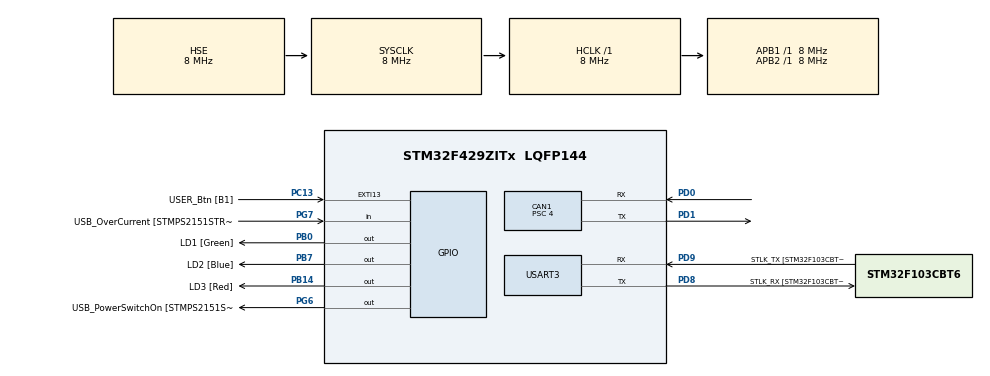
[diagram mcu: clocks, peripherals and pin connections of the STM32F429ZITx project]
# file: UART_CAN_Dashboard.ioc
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CAN1.BS1=CAN_BS1_6TQ
CAN1.CalculateBaudRate=250000
CAN1.CalculateTimeBit=4000
CAN1.CalculateTimeQuantum=500.0
CAN1.Mode=CAN_MODE_NORMAL
CAN1.NART=ENABLE
CAN1.Prescaler=4
Mcu.Family=STM32F4
Mcu.Name=STM32F429ZITx
Mcu.Package=LQFP144
NVIC.CAN1_RX0_IRQn=true\:0\:0\:false\:false\:true\:true\:true\:true
NVIC.CAN1_RX1_IRQn=true\:0\:0\:false\:false\:true\:true\:true\:true
NVIC.CAN1_SCE_IRQn=true\:0\:0\:false\:false\:true\:true\:true\:true
NVIC.CAN1_TX_IRQn=true\:0\:0\:false\:false\:true\:true\:true\:true
NVIC.PriorityGroup=NVIC_PRIORITYGROUP_4
NVIC.USART3_IRQn=true\:0\:0\:false\:false\:true\:true\:true\:true
PA1.GPIO_Label=RMII_REF_CLK [LAN8742A-CZ-TR_REFCLK0]
PA1.Signal=ETH_REF_CLK
PA10.GPIO_Label=USB_ID
PA10.Signal=USB_OTG_FS_ID
PA11.GPIO_Label=USB_DM
PA11.Signal=USB_OTG_FS_DM
PA12.GPIO_Label=USB_DP
PA12.Signal=USB_OTG_FS_DP
PA13.GPIO_Label=TMS
PA13.Signal=SYS_JTMS-SWDIO
PA14.GPIO_Label=TCK
PA14.Signal=SYS_JTCK-SWCLK
PA2.GPIO_Label=RMII_MDIO [LAN8742A-CZ-TR_MDIO]
PA2.Signal=ETH_MDIO
PA7.GPIO_Label=RMII_CRS_DV [LAN8742A-CZ-TR_CRS_DV]
PA7.Signal=ETH_CRS_DV
PA8.GPIO_Label=USB_SOF [TP1]
PA8.Signal=USB_OTG_FS_SOF
PA9.GPIO_Label=USB_VBUS
PA9.Signal=USB_OTG_FS_VBUS
PB0.GPIO_Label=LD1 [Green]
PB0.Signal=GPIO_Output
PB13.GPIO_Label=RMII_TXD1 [LAN8742A-CZ-TR_TXD1]
PB13.Signal=ETH_TXD1
PB14.GPIO_Label=LD3 [Red]
PB14.Signal=GPIO_Output
PB7.GPIO_Label=LD2 [Blue]
PB7.Signal=GPIO_Output
PC1.GPIO_Label=RMII_MDC [LAN8742A-CZ-TR_MDC]
PC1.Signal=ETH_MDC
PC13.GPIO_Label=USER_Btn [B1]
PC13.Signal=GPXTI13
PC14/OSC32_IN.Signal=RCC_OSC32_IN
PC15/OSC32_OUT.Signal=RCC_OSC32_OUT
PC4.GPIO_Label=RMII_RXD0 [LAN8742A-CZ-TR_RXD0]
PC4.Signal=ETH_RXD0
PC5.GPIO_Label=RMII_RXD1 [LAN8742A-CZ-TR_RXD1]
PC5.Signal=ETH_RXD1
PD0.Mode=CAN_Activate
PD0.Signal=CAN1_RX
PD1.Mode=CAN_Activate
PD1.Signal=CAN1_TX
PD8.GPIO_Label=STLK_RX [STM32F103CBT6_PA3]
PD8.Mode=Asynchronous
PD8.Signal=USART3_TX
PD9.GPIO_Label=STLK_TX [STM32F103CBT6_PA2]
PD9.Mode=Asynchronous
PD9.Signal=USART3_RX
PG11.GPIO_Label=RMII_TX_EN [LAN8742A-CZ-TR_TXEN]
PG11.Signal=ETH_TX_EN
PG13.GPIO_Label=RMII_TXD0 [LAN8742A-CZ-TR_TXD0]
PG13.Signal=ETH_TXD0
PG6.GPIO_Label=USB_PowerSwitchOn [STMPS2151STR_EN]
PG6.Signal=GPIO_Output
PG7.GPIO_Label=USB_OverCurrent [STMPS2151STR_FAULT]
PG7.Signal=GPIO_Input
PH0/OSC_IN.GPIO_Label=MCO [STM32F103CBT6_PA8]
PH0/OSC_IN.Mode=HSE-External-Clock-Source
PH0/OSC_IN.Signal=RCC_OSC_IN
PH1/OSC_OUT.Mode=HSE-External-Clock-Source
PH1/OSC_OUT.Signal=RCC_OSC_OUT
ProjectManager.HeapSize=0x200
ProjectManager.StackSize=0x400
ProjectManager.TargetToolchain=STM32CubeIDE
RCC.48MHZClocksFreq_Value=24000000
RCC.AHBFreq_Value=8000000
RCC.APB1Freq_Value=8000000
RCC.APB1TimFreq_Value=8000000
RCC.APB2Freq_Value=8000000
RCC.APB2TimFreq_Value=8000000
RCC.CortexFreq_Value=8000000
RCC.HCLKFreq_Value=8000000
RCC.HSE_VALUE=8000000
RCC.HSI_VALUE=16000000
RCC.LSE_VALUE=32768
RCC.PLLMUL=RCC_PLL_MUL9
RCC.PLLSourceVirtual=RCC_PLLSOURCE_HSE
RCC.PRESCALERUSB=RCC_USBCLKSOURCE_PLL_DIV1_5
RCC.SYSCLKFreq_VALUE=8000000
RCC.SYSCLKSource=RCC_SYSCLKSOURCE_HSE
RCC.SYSCLKSourceVirtual=RCC_SYSCLKSOURCE_PLLCLK
RCC.USBFreq_Value=48000000
RCC.VCOOutputFreq_Value=96000000
USART3.VirtualMode=VM_ASYNC
board=NUCLEO-F429ZI

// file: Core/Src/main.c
/* USER CODE BEGIN Header */
/**
  ******************************************************************************
  * @file           : main.c
  * @brief          : Main program body
  ******************************************************************************
  * @attention
  *
  * Copyright (c) 2026 STMicroelectronics.
  * All rights reserved.
  *
  * This software is licensed under terms that can be found in the LICENSE file
  * in the root directory of this software component.
  * If no LICENSE file comes with this software, it is provided AS-IS.
  *
  ******************************************************************************
  */
/* USER CODE END Header */
#include "main.h"

/* USER CODE BEGIN Includes */
#include <string.h>
#include <stdio.h>
/* USER CODE END Includes */

/* USER CODE BEGIN PTD */
/* Trame échangée avec le dashboard PC par UART. */
typedef struct
{
    uint8_t cmd;
    uint8_t payload[4];
} FrameCom;

/* États de la machine à états de réception UART (voir HAL_UART_RxCpltCallback). */
typedef enum
{
    WAIT_FOR_SOF,
    WAIT_FOR_CMD,
    WAIT_FOR_DATA1,
    WAIT_FOR_DATA2,
    WAIT_FOR_DATA3,
    WAIT_FOR_DATA4
} FrameStateTypeDef;
/* USER CODE END PTD */

/* USER CODE BEGIN PD */

/* ==================== SRS-SYS-02 ====================
 * Exigence SRS : firmware modulaire (can_node.c/h, uart_bridge.c/h, can_config.h).
 * Statut : NON FAIT — tout en un seul main.c, reporté en V2 faute de temps. */

/* ==================== SRS-UART-02 ====================
 * Trame UART fixe 6 octets : SOF + CMD + PAYLOAD(4).
 * Aucun checksum (conforme au SRS d'origine). */
#define SOF_PATTERN  0xA5U

#define CMD_LED_ON          0x01U
#define CMD_LED_OFF         0x02U
#define CMD_READ_SENSOR     0x10U
#define CMD_TRIGGER_ABS     0x11U
#define CMD_SENSOR_VALUE    0x20U
#define CMD_ACK             0x50U

#define CMD_SPEED_MOTOR       0x21U
#define CMD_TEMPERATURE       0x22U
#define CMD_DEBIT_FLUIDE      0x23U
#define CMD_BATTERY_VOLTAGE   0x24U
#define CMD_EXTERNAL_LIGHT    0x25U
#define CMD_WINDOW_LEFT       0x31U
#define CMD_WINDOW_RIGHT      0x32U
#define CMD_PORTE_DROITE      0x33U

/* ==================== SRS-CAN-02 ====================
 * Table d'allocation des IDs CAN (5 nœuds sur le même bus).
 * Nœud    | Signal          | ID CAN | CMD UART
 * Amine   | Pression        | 0x55C  | CMD_SENSOR_VALUE
 * partagé | ABS trigger/ack | 0x679  | CMD_ACK
 * Yassine | Speed Motor     | 0x406  | CMD_SPEED_MOTOR
 * Souha   | Temperature     | 0x456  | CMD_TEMPERATURE
 * Eya     | Debit Fluide    | 0x390  | CMD_DEBIT_FLUIDE
 * Yassine | Window Left     | 0x401  | CMD_WINDOW_LEFT
 * Souha   | Window Right    | 0x402  | CMD_WINDOW_RIGHT
 * Eya     | Porte Droite    | 0x790  | CMD_PORTE_DROITE
 * Nour    | Battery Voltage | 0x222  | CMD_BATTERY_VOLTAGE
 * Nour    | External Light  | 0x221  | CMD_EXTERNAL_LIGHT */
#define CANID_PRESSURE          0x55CU
#define CANID_ABS               0x679U
#define CANID_SPEED_MOTOR       0x406U
#define CANID_TEMPERATURE       0x456U
#define CANID_DEBIT_FLUIDE      0x390U
#define CANID_WINDOW_LEFT       0x401U
#define CANID_WINDOW_RIGHT      0x402U
#define CANID_PORTE_DROITE      0x790U
#define CANID_BATTERY_VOLTAGE   0x222U
#define CANID_EXTERNAL_LIGHT    0x221U

/* Mettre à 0 pour couper la génération de pression de test. */
#define ENABLE_LOCAL_PRESSURE_DEMO   1
/* USER CODE END PD */

CAN_HandleTypeDef hcan1;

UART_HandleTypeDef huart3;

/* USER CODE BEGIN PV */
CAN_TxHeaderTypeDef TxHeader;
CAN_RxHeaderTypeDef RxHeader;
uint8_t TxData[8];
uint8_t RxData[8];
uint32_t TxMailbox;

uint8_t rx_byte;
FrameCom RxFrame;
static FrameStateTypeDef state = WAIT_FOR_SOF;
/* USER CODE END PV */

void SystemClock_Config(void);
static void MX_GPIO_Init(void);
static void MX_CAN1_Init(void);
static void MX_USART3_UART_Init(void);
/* USER CODE BEGIN PFP */
void NewFrameReceivedCallback(FrameCom *rxFrame);
void SendFrame(uint8_t cmd, uint8_t *payload);
/* USER CODE END PFP */

int main(void)
{

  /* MCU Configuration--------------------------------------------------------*/

  /* Reset of all peripherals, Initializes the Flash interface and the Systick. */
  HAL_Init();

  /* Configure the system clock */
  SystemClock_Config();

  /* Initialize all configured peripherals */
  MX_GPIO_Init();
  MX_CAN1_Init();
  MX_USART3_UART_Init();
  /* USER CODE BEGIN 2 */

  /* ==================== SRS-CAN-01 ====================
   * Filtre CAN passe-tout (mask=0x0000) : écoute les 10 IDs des 5 nœuds
   * sur un seul filtre. */
  CAN_FilterTypeDef filter;
  filter.FilterBank           = 0;
  filter.FilterMode           = CAN_FILTERMODE_IDMASK;
  filter.FilterScale          = CAN_FILTERSCALE_32BIT;
  filter.FilterIdHigh         = 0x0000;
  filter.FilterIdLow          = 0x0000;
  filter.FilterMaskIdHigh     = 0x0000;
  filter.FilterMaskIdLow      = 0x0000;
  filter.FilterFIFOAssignment = CAN_RX_FIFO0;
  filter.FilterActivation     = ENABLE;
  filter.SlaveStartFilterBank = 14;
  HAL_CAN_ConfigFilter(&hcan1, &filter);
  HAL_CAN_Start(&hcan1);
  HAL_CAN_ActivateNotification(&hcan1, CAN_IT_RX_FIFO0_MSG_PENDING);
  HAL_UART_Receive_IT(&huart3, &rx_byte, 1);

  TxHeader.StdId              = CANID_PRESSURE;
  TxHeader.ExtId              = 0x00;
  TxHeader.IDE                = CAN_ID_STD;
  TxHeader.RTR                = CAN_RTR_DATA;
  TxHeader.DLC                = 8;
  TxHeader.TransmitGlobalTime = DISABLE;

  /* USER CODE END 2 */

  /* Infinite loop */
  /* USER CODE BEGIN WHILE */
  while (1)
  {
    HAL_GPIO_TogglePin(GPIOB, LD2_Pin);
    HAL_Delay(500);

#if ENABLE_LOCAL_PRESSURE_DEMO
    /* Génère une valeur de pression croissante pour tester
     * la chaîne CAN -> UART -> dashboard. */
    static uint8_t pressure = 0;
    pressure++;
    TxData[0] = 0x00;
    TxData[1] = 0x00;
    TxData[2] = 0x00;
    TxData[3] = pressure;
    TxData[4] = 0x00;
    TxData[5] = 0x00;
    TxData[6] = 0x00;
    TxData[7] = 0x00;

    FrameCom TxFrame;
    TxFrame.cmd = CMD_SENSOR_VALUE;
    TxFrame.payload[0] = 0x00;
    TxFrame.payload[1] = 0x00;
    TxFrame.payload[2] = 0x00;
    TxFrame.payload[3] = pressure;
    SendFrame(TxFrame.cmd, TxFrame.payload);

    if (HAL_CAN_AddTxMessage(&hcan1, &TxHeader, TxData, &TxMailbox) != HAL_OK)
    {
        Error_Handler();
    }
#endif /* ENABLE_LOCAL_PRESSURE_DEMO */
  }

  /* USER CODE END WHILE */

}

void SystemClock_Config(void)
{
  RCC_OscInitTypeDef RCC_OscInitStruct = {0};
  RCC_ClkInitTypeDef RCC_ClkInitStruct = {0};

  __HAL_RCC_PWR_CLK_ENABLE();
  __HAL_PWR_VOLTAGESCALING_CONFIG(PWR_REGULATOR_VOLTAGE_SCALE3);

  RCC_OscInitStruct.OscillatorType = RCC_OSCILLATORTYPE_HSE;
  RCC_OscInitStruct.HSEState = RCC_HSE_BYPASS;
  RCC_OscInitStruct.PLL.PLLState = RCC_PLL_NONE;
  if (HAL_RCC_OscConfig(&RCC_OscInitStruct) != HAL_OK)
  {
    Error_Handler();
  }

  RCC_ClkInitStruct.ClockType = RCC_CLOCKTYPE_HCLK|RCC_CLOCKTYPE_SYSCLK
                              |RCC_CLOCKTYPE_PCLK1|RCC_CLOCKTYPE_PCLK2;
  RCC_ClkInitStruct.SYSCLKSource = RCC_SYSCLKSOURCE_HSE;
  RCC_ClkInitStruct.AHBCLKDivider = RCC_SYSCLK_DIV1;
  RCC_ClkInitStruct.APB1CLKDivider = RCC_HCLK_DIV1;
  RCC_ClkInitStruct.APB2CLKDivider = RCC_HCLK_DIV1;

  if (HAL_RCC_ClockConfig(&RCC_ClkInitStruct, FLASH_LATENCY_0) != HAL_OK)
  {
    Error_Handler();
  }
}

static void MX_CAN1_Init(void)
{

  hcan1.Instance = CAN1;
  hcan1.Init.Prescaler = 4;
  hcan1.Init.Mode = CAN_MODE_NORMAL; /* nécessaire : multi-nœuds -> ACK bit entre nœuds */
  hcan1.Init.SyncJumpWidth = CAN_SJW_1TQ;
  hcan1.Init.TimeSeg1 = CAN_BS1_6TQ;
  hcan1.Init.TimeSeg2 = CAN_BS2_1TQ;
  hcan1.Init.TimeTriggeredMode = DISABLE;
  hcan1.Init.AutoBusOff = DISABLE;
  hcan1.Init.AutoWakeUp = DISABLE;
  hcan1.Init.AutoRetransmission = ENABLE;
  hcan1.Init.ReceiveFifoLocked = DISABLE;
  hcan1.Init.TransmitFifoPriority = DISABLE;
  if (HAL_CAN_Init(&hcan1) != HAL_OK)
  {
    Error_Handler();
  }
  /* USER CODE BEGIN CAN1_Init 2 */
  /* ==================== SRS-SYS-01 ====================
   * Bitrate CAN = 250 kbps (Prescaler=4, BS1=6TQ, BS2=1TQ, APB1=8MHz HSE bypass). */
  /* USER CODE END CAN1_Init 2 */

}

static void MX_USART3_UART_Init(void)
{

  huart3.Instance = USART3;
  huart3.Init.BaudRate = 115200;
  huart3.Init.WordLength = UART_WORDLENGTH_8B;
  huart3.Init.StopBits = UART_STOPBITS_1;
  huart3.Init.Parity = UART_PARITY_NONE;
  huart3.Init.Mode = UART_MODE_TX_RX;
  huart3.Init.HwFlowCtl = UART_HWCONTROL_NONE;
  huart3.Init.OverSampling = UART_OVERSAMPLING_16;
  if (HAL_UART_Init(&huart3) != HAL_OK)
  {
    Error_Handler();
  }

}

static void MX_GPIO_Init(void)
{
  GPIO_InitTypeDef GPIO_InitStruct = {0};

  /* GPIO Ports Clock Enable */
  __HAL_RCC_GPIOC_CLK_ENABLE();
  __HAL_RCC_GPIOH_CLK_ENABLE();
  __HAL_RCC_GPIOA_CLK_ENABLE();
  __HAL_RCC_GPIOB_CLK_ENABLE();
  __HAL_RCC_GPIOD_CLK_ENABLE();
  __HAL_RCC_GPIOG_CLK_ENABLE();

  /*Configure GPIO pin Output Level */
  HAL_GPIO_WritePin(GPIOB, LD1_Pin|LD3_Pin|LD2_Pin, GPIO_PIN_RESET);

  /*Configure GPIO pin Output Level */
  HAL_GPIO_WritePin(USB_PowerSwitchOn_GPIO_Port, USB_PowerSwitchOn_Pin, GPIO_PIN_RESET);

  /*Configure GPIO pin : USER_Btn_Pin */
  GPIO_InitStruct.Pin = USER_Btn_Pin;
  GPIO_InitStruct.Mode = GPIO_MODE_IT_RISING;
  GPIO_InitStruct.Pull = GPIO_NOPULL;
  HAL_GPIO_Init(USER_Btn_GPIO_Port, &GPIO_InitStruct);

  /*Configure GPIO pins : RMII_MDC_Pin RMII_RXD0_Pin RMII_RXD1_Pin */
  GPIO_InitStruct.Pin = RMII_MDC_Pin|RMII_RXD0_Pin|RMII_RXD1_Pin;
  GPIO_InitStruct.Mode = GPIO_MODE_AF_PP;
  GPIO_InitStruct.Pull = GPIO_NOPULL;
  GPIO_InitStruct.Speed = GPIO_SPEED_FREQ_VERY_HIGH;
  GPIO_InitStruct.Alternate = GPIO_AF11_ETH;
  HAL_GPIO_Init(GPIOC, &GPIO_InitStruct);

  /*Configure GPIO pins : RMII_REF_CLK_Pin RMII_MDIO_Pin RMII_CRS_DV_Pin */
  GPIO_InitStruct.Pin = RMII_REF_CLK_Pin|RMII_MDIO_Pin|RMII_CRS_DV_Pin;
  GPIO_InitStruct.Mode = GPIO_MODE_AF_PP;
  GPIO_InitStruct.Pull = GPIO_NOPULL;
  GPIO_InitStruct.Speed = GPIO_SPEED_FREQ_VERY_HIGH;
  GPIO_InitStruct.Alternate = GPIO_AF11_ETH;
  HAL_GPIO_Init(GPIOA, &GPIO_InitStruct);

  /*Configure GPIO pins : LD1_Pin LD3_Pin LD2_Pin */
  GPIO_InitStruct.Pin = LD1_Pin|LD3_Pin|LD2_Pin;
  GPIO_InitStruct.Mode = GPIO_MODE_OUTPUT_PP;
  GPIO_InitStruct.Pull = GPIO_NOPULL;
  GPIO_InitStruct.Speed = GPIO_SPEED_FREQ_LOW;
  HAL_GPIO_Init(GPIOB, &GPIO_InitStruct);

  /*Configure GPIO pin : RMII_TXD1_Pin */
  GPIO_InitStruct.Pin = RMII_TXD1_Pin;
  GPIO_InitStruct.Mode = GPIO_MODE_AF_PP;
  GPIO_InitStruct.Pull = GPIO_NOPULL;
  GPIO_InitStruct.Speed = GPIO_SPEED_FREQ_VERY_HIGH;
  GPIO_InitStruct.Alternate = GPIO_AF11_ETH;
  HAL_GPIO_Init(RMII_TXD1_GPIO_Port, &GPIO_InitStruct);

  /*Configure GPIO pin : USB_PowerSwitchOn_Pin */
  GPIO_InitStruct.Pin = USB_PowerSwitchOn_Pin;
  GPIO_InitStruct.Mode = GPIO_MODE_OUTPUT_PP;
  GPIO_InitStruct.Pull = GPIO_NOPULL;
  GPIO_InitStruct.Speed = GPIO_SPEED_FREQ_LOW;
  HAL_GPIO_Init(USB_PowerSwitchOn_GPIO_Port, &GPIO_InitStruct);

  /*Configure GPIO pin : USB_OverCurrent_Pin */
  GPIO_InitStruct.Pin = USB_OverCurrent_Pin;
  GPIO_InitStruct.Mode = GPIO_MODE_INPUT;
  GPIO_InitStruct.Pull = GPIO_NOPULL;
  HAL_GPIO_Init(USB_OverCurrent_GPIO_Port, &GPIO_InitStruct);

  /*Configure GPIO pins : USB_SOF_Pin USB_ID_Pin USB_DM_Pin USB_DP_Pin */
  GPIO_InitStruct.Pin = USB_SOF_Pin|USB_ID_Pin|USB_DM_Pin|USB_DP_Pin;
  GPIO_InitStruct.Mode = GPIO_MODE_AF_PP;
  GPIO_InitStruct.Pull = GPIO_NOPULL;
  GPIO_InitStruct.Speed = GPIO_SPEED_FREQ_VERY_HIGH;
  GPIO_InitStruct.Alternate = GPIO_AF10_OTG_FS;
  HAL_GPIO_Init(GPIOA, &GPIO_InitStruct);

  /*Configure GPIO pin : USB_VBUS_Pin */
  GPIO_InitStruct.Pin = USB_VBUS_Pin;
  GPIO_InitStruct.Mode = GPIO_MODE_INPUT;
  GPIO_InitStruct.Pull = GPIO_NOPULL;
  HAL_GPIO_Init(USB_VBUS_GPIO_Port, &GPIO_InitStruct);

  /*Configure GPIO pins : RMII_TX_EN_Pin RMII_TXD0_Pin */
  GPIO_InitStruct.Pin = RMII_TX_EN_Pin|RMII_TXD0_Pin;
  GPIO_InitStruct.Mode = GPIO_MODE_AF_PP;
  GPIO_InitStruct.Pull = GPIO_NOPULL;
  GPIO_InitStruct.Speed = GPIO_SPEED_FREQ_VERY_HIGH;
  GPIO_InitStruct.Alternate = GPIO_AF11_ETH;
  HAL_GPIO_Init(GPIOG, &GPIO_InitStruct);

}

/* USER CODE BEGIN 4 */

/* ==================== SRS-CAN-03 ====================
 * Relaie chaque trame CAN reçue vers le dashboard PC via UART. */
void HAL_CAN_RxFifo0MsgPendingCallback(CAN_HandleTypeDef *hcan)
{
    HAL_CAN_GetRxMessage(hcan, CAN_RX_FIFO0, &RxHeader, RxData);

    switch (RxHeader.StdId)
    {
        case CANID_PRESSURE:        /* Amine */
        {
            uint8_t payload[4] = {RxData[0], RxData[1], RxData[2], RxData[3]};
            SendFrame(CMD_SENSOR_VALUE, payload);
            break;
        }

        case CANID_ABS:              /* partagé */
        {
            uint8_t payload[4] = {0x01, 0x00, 0x00, 0x00};
            SendFrame(CMD_ACK, payload);
            break;
        }

        case CANID_SPEED_MOTOR:      /* Yassine */
        {
            uint8_t payload[4] = {0x00, 0x00, 0x00, RxData[0]};
            SendFrame(CMD_SPEED_MOTOR, payload);
            break;
        }

        case CANID_TEMPERATURE:      /* Souha */
        {
            uint8_t payload[4] = {RxData[0], RxData[1], RxData[2], RxData[3]};
            SendFrame(CMD_TEMPERATURE, payload);
            break;
        }

        case CANID_DEBIT_FLUIDE:     /* Eya */
        {
            uint8_t payload[4] = {0x00, 0x00, 0x00, RxData[0]};
            SendFrame(CMD_DEBIT_FLUIDE, payload);
            break;
        }

        case CANID_WINDOW_LEFT:      /* Yassine */
        {
            uint8_t payload[4] = {RxData[0], RxData[1], RxData[2], RxData[3]};
            SendFrame(CMD_WINDOW_LEFT, payload);
            break;
        }

        case CANID_WINDOW_RIGHT:     /* Souha */
        {
            uint8_t payload[4] = {RxData[0], RxData[1], RxData[2], RxData[3]};
            SendFrame(CMD_WINDOW_RIGHT, payload);
            break;
        }

        case CANID_PORTE_DROITE:     /* Eya */
        {
            uint8_t payload[4] = {RxData[0], RxData[1], RxData[2], RxData[3]};
            SendFrame(CMD_PORTE_DROITE, payload);
            break;
        }

        case CANID_BATTERY_VOLTAGE:  /* Nour */
        {
            uint8_t payload[4] = {0x00, 0x00, RxData[0], RxData[1]};
            SendFrame(CMD_BATTERY_VOLTAGE, payload);
            break;
        }

        case CANID_EXTERNAL_LIGHT:   /* Nour */
        {
            uint8_t payload[4] = {RxData[0], RxData[1], RxData[2], RxData[3]};
            SendFrame(CMD_EXTERNAL_LIGHT, payload);
            break;
        }

        default:
            break;
    }
}

/* ==================== SRS-UART-03 ====================
 * Reconstruit une trame UART octet par octet via une machine à états,
 * resynchronisée sur le SOF (0xA5). */
void HAL_UART_RxCpltCallback(UART_HandleTypeDef *huart)
{
    if (huart->Instance == USART3)
    {
        switch (state)
        {
            case WAIT_FOR_SOF:
                if (rx_byte == SOF_PATTERN) state = WAIT_FOR_CMD;
                break;
            case WAIT_FOR_CMD:
                RxFrame.cmd = rx_byte;
                state = WAIT_FOR_DATA1;
                break;
            case WAIT_FOR_DATA1:
                RxFrame.payload[0] = rx_byte;
                state = WAIT_FOR_DATA2;
                break;
            case WAIT_FOR_DATA2:
                RxFrame.payload[1] = rx_byte;
                state = WAIT_FOR_DATA3;
                break;
            case WAIT_FOR_DATA3:
                RxFrame.payload[2] = rx_byte;
                state = WAIT_FOR_DATA4;
                break;
            case WAIT_FOR_DATA4:
                RxFrame.payload[3] = rx_byte;
                NewFrameReceivedCallback(&RxFrame);
                state = WAIT_FOR_SOF;
                break;
        }
        HAL_UART_Receive_IT(&huart3, &rx_byte, 1);
    }
}

/* Envoie une trame 6 octets (SOF+CMD+PAYLOAD) vers le dashboard PC. */
void SendFrame(uint8_t cmd, uint8_t *payload)
{
    uint8_t frame[6];
    frame[0] = SOF_PATTERN;
    frame[1] = cmd;
    frame[2] = payload[0];
    frame[3] = payload[1];
    frame[4] = payload[2];
    frame[5] = payload[3];
    HAL_UART_Transmit(&huart3, frame, 6, HAL_MAX_DELAY);
}

/* ==================== SRS-UART-04 ====================
 * Décode le CMD reçu du dashboard et déclenche l'action locale. */
void NewFrameReceivedCallback(FrameCom *rxFrame)
{
    uint8_t ack_payload[4] = {0, 0, 0, 0};
    switch (rxFrame->cmd)
    {
        case CMD_LED_ON:
            HAL_GPIO_WritePin(GPIOB, LD1_Pin, GPIO_PIN_SET);
            SendFrame(CMD_ACK, ack_payload);
            break;

        case CMD_LED_OFF:
            HAL_GPIO_WritePin(GPIOB, LD1_Pin, GPIO_PIN_RESET);
            SendFrame(CMD_ACK, ack_payload);
            break;

        case CMD_READ_SENSOR:
        {
            uint8_t payload[4] = {0, 0, 0, 0};
            payload[3] = TxData[3];
            SendFrame(CMD_SENSOR_VALUE, payload);
            break;
        }

        /* ==================== SRS-CAN-04 ====================
         * Commande PC -> émission CAN directe (trigger ABS). */
        case CMD_TRIGGER_ABS:
        {
            CAN_TxHeaderTypeDef absHeader;
            absHeader.StdId = CANID_ABS;
            absHeader.IDE = CAN_ID_STD;
            absHeader.RTR = CAN_RTR_DATA;
            absHeader.DLC = 1;
            absHeader.TransmitGlobalTime = DISABLE;

            uint8_t absData[1] = {0x01};
            uint32_t absMailbox;
            if (HAL_CAN_AddTxMessage(&hcan1, &absHeader, absData, &absMailbox) != HAL_OK)
            {
                Error_Handler();
            }
            break;
        }

        default:
            break;
    }
}
/* USER CODE END 4 */

void Error_Handler(void)
{
  __disable_irq();
  while (1) {}
}
